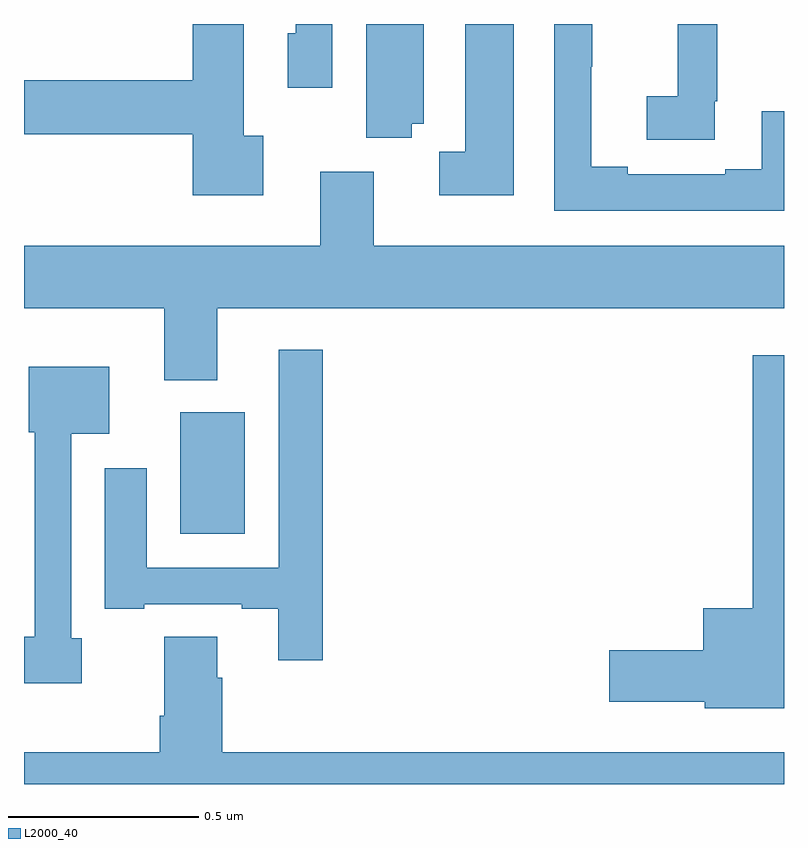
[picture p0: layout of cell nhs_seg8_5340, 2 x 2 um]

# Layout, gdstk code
import gdstk
lib = gdstk.Library(unit=1e-6, precision=1e-09)
def R(c, l, rs):  # rectangles x0, y0, x1, y1
    for r in rs: c.add(gdstk.rectangle(r[:2], r[2:], *l))
def P(c, l, *ps):  # polygons
    for p in ps: c.add(gdstk.Polygon(p, *l))
L2000_40 = (2000, 40)

nhs_seg8_5340 = lib.new_cell('nhs_seg8_5340')
R(nhs_seg8_5340, L2000_40, [(182.411,1130.558,182.581,1130.878)])
P(nhs_seg8_5340, L2000_40, [(182.811,1131.9),(182.715,1131.9),(182.715,1131.876),(182.694,1131.876),(182.694,1131.732),(182.811,1131.732)],
  [(183.818,1131.697),(183.824,1131.697),(183.824,1131.9),(183.721,1131.9),(183.721,1131.71),(183.639,1131.71),(183.639,1131.595),(183.818,1131.595)],
  [(184,1131.671),(183.942,1131.671),(183.942,1131.518),(183.845,1131.518),(183.845,1131.504),(183.589,1131.504),(183.589,1131.524),(183.493,1131.524),(183.493,1131.787),(183.495,1131.787),(183.495,1131.9),(183.396,1131.9),(183.396,1131.408),(184,1131.408)],
  [(183.02,1131.638),(183.052,1131.638),(183.052,1131.9),(182.9,1131.9),(182.9,1131.601),(183.02,1131.601)],
  [(183.289,1131.9),(183.161,1131.9),(183.161,1131.564),(183.093,1131.564),(183.093,1131.449),(183.289,1131.449)],
  [(182.629,1131.606),(182.578,1131.606),(182.578,1131.9),(182.444,1131.9),(182.444,1131.752),(182,1131.752),(182,1131.61),(182.444,1131.61),(182.444,1131.45),(182.629,1131.45)],
  [(182.509,1131.152),(184,1131.152),(184,1131.316),(182.92,1131.316),(182.92,1131.511),(182.78,1131.511),(182.78,1131.316),(182,1131.316),(182,1131.152),(182.369,1131.152),(182.369,1130.963),(182.509,1130.963)],
  [(182.786,1131.043),(182.67,1131.043),(182.67,1130.469),(182.323,1130.469),(182.323,1130.731),(182.213,1130.731),(182.213,1130.361),(182.317,1130.361),(182.317,1130.373),(182.573,1130.373),(182.573,1130.361),(182.669,1130.361),(182.669,1130.226),(182.786,1130.226)],
  [(184,1131.028),(183.918,1131.028),(183.918,1130.362),(183.788,1130.362),(183.788,1130.252),(183.54,1130.252),(183.54,1130.117),(183.792,1130.117),(183.792,1130.099),(184,1130.099)],
  [(182.152,1130.283),(182.124,1130.283),(182.124,1130.822),(182.224,1130.822),(182.224,1130.998),(182.012,1130.998),(182.012,1130.826),(182.028,1130.826),(182.028,1130.287),(182,1130.287),(182,1130.165),(182.152,1130.165)],
  [(184,1129.984),(182.522,1129.984),(182.522,1130.18),(182.509,1130.18),(182.509,1130.288),(182.369,1130.288),(182.369,1130.08),(182.357,1130.08),(182.357,1129.984),(182,1129.984),(182,1129.9),(184,1129.9)])

lib.write_gds('nhs_seg8_5340.gds')
